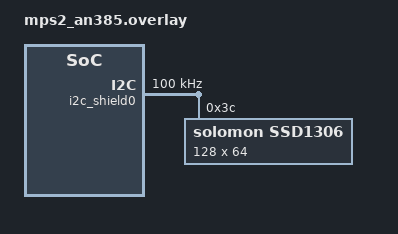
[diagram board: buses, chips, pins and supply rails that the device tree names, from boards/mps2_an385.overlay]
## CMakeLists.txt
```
cmake_minimum_required(VERSION 3.28.0)
find_package(Zephyr REQUIRED HINTS $ENV{ZEPHYR_BASE})
project(qemu_demo)
target_sources(app PRIVATE src/main.c)
```

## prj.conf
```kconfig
CONFIG_DISPLAY=y
CONFIG_I2C=y
CONFIG_SSD1306=y
CONFIG_PRINTK=y
CONFIG_LOG=y
CONFIG_LOG_MODE_IMMEDIATE=y
CONFIG_I2C_LOG_LEVEL_DBG=y
CONFIG_DISPLAY_LOG_LEVEL_DBG=y
CONFIG_CONSOLE=y
CONFIG_SERIAL=y
CONFIG_TICKLESS_KERNEL=n
CONFIG_MAIN_STACK_SIZE=8192
```

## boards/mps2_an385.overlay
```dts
/*
 * An SSD1306 on the board's first I2C bus.
 *
 * mps2-an385 has three "versatile-i2c" controllers, and QEMU models them
 * (hw/i2c/arm_sbcon_i2c.c). Attaching a panel here means the same driver code
 * that runs on a real OLED runs under emulation.
 */

/ {
	chosen {
		zephyr,display = &ssd1306;
	};
};

&i2c_shield0 {
	status = "okay";
	clock-frequency = <I2C_BITRATE_STANDARD>;

	ssd1306: ssd1306@3c {
		compatible = "solomon,ssd1306";
		reg = <0x3c>;
		width = <128>;
		height = <64>;
		segment-offset = <0>;
		page-offset = <0>;
		display-offset = <0>;
		multiplex-ratio = <63>;
		segment-remap;
		com-invdir;
		prechargep = <0x22>;
	};
};
```

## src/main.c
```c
/*
 * A Zephyr application for the emulated machine.
 *
 * It proves the browser QEMU runs real Zephyr firmware: it prints on the
 * emulated console and draws on an SSD1306 over the shield I2C bus, so both the
 * serial path and the display path are exercised.
 *
 * It loops forever rather than returning, which is what a display application
 * does anyway.
 */

#include <zephyr/kernel.h>
#include <zephyr/drivers/display.h>
#include <zephyr/device.h>
#include <stdio.h>
#include <string.h>

#define WIDTH  128
#define HEIGHT 64

int main(void)
{
	const struct device *display = DEVICE_DT_GET(DT_CHOSEN(zephyr_display));
	static uint8_t buf[WIDTH * HEIGHT / 8];

	printk("qemu-wasm-arm: Zephyr booted on the emulated Cortex-M\n");

	if (!device_is_ready(display)) {
		printk("qemu-wasm-arm: display not ready\n");
		return 0;
	}

	printk("qemu-wasm-arm: display %s ready\n", display->name);
	display_blanking_off(display);

	/*
	 * A border plus a filled block that moves, so the captured GDDRAM has
	 * structure a test can assert on rather than a blank screen.
	 */
	for (int frame = 0;; frame++) {
		memset(buf, 0, sizeof(buf));

		/*
		 * The SSD1306 driver forwards the buffer straight to the controller, so
		 * the buffer must already be in the controller's own layout: one byte per
		 * eight VERTICAL pixels, page-major, with the top pixel in bit 0.
		 *
		 *   index = (y / 8) * WIDTH + x
		 *   bit   = y % 8
		 *
		 * Using the horizontal layout instead produces a transposed picture, which
		 * is exactly what the first version of this app drew.
		 */
		for (int x = 0; x < WIDTH; x++) {
			buf[0 * WIDTH + x] |= BIT(0);
			buf[(HEIGHT / 8 - 1) * WIDTH + x] |= BIT(7);
		}
		for (int y = 0; y < HEIGHT; y++) {
			buf[(y / 8) * WIDTH + 0] |= BIT(y % 8);
			buf[(y / 8) * WIDTH + (WIDTH - 1)] |= BIT(y % 8);
		}

		int bx = (frame * 4) % (WIDTH - 24);
		for (int y = 24; y < 40; y++) {
			for (int x = bx; x < bx + 24; x++) {
				buf[(y / 8) * WIDTH + x] |= BIT(y % 8);
			}
		}

		struct display_buffer_descriptor desc = {
			.buf_size = sizeof(buf),
			.width = WIDTH,
			.height = HEIGHT,
			.pitch = WIDTH,
		};

		display_write(display, 0, 0, &desc, buf);
		printk("qemu-wasm-arm: frame %d\n", frame);
		k_sleep(K_MSEC(250));
	}

	return 0;
}
```
